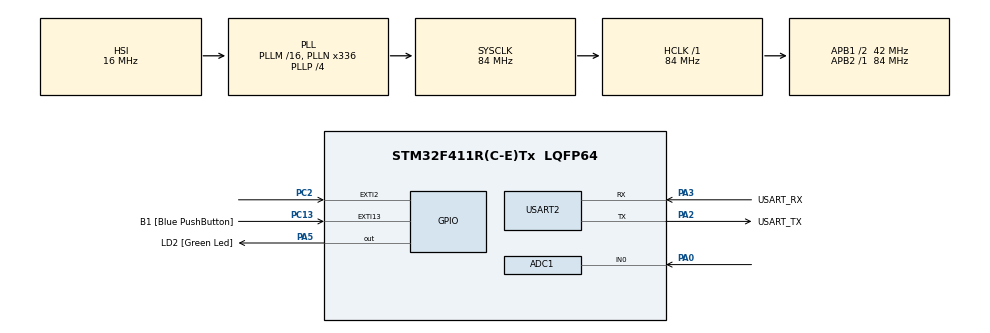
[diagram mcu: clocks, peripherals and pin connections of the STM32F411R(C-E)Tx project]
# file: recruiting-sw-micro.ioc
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ADC1.Channel-8\#ChannelRegularConversion=ADC_CHANNEL_0
ADC1.ContinuousConvMode=ENABLE
ADC1.DMAContinuousRequests=ENABLE
ADC1.NbrOfConversionFlag=1
ADC1.Rank-8\#ChannelRegularConversion=1
ADC1.SamplingTime-8\#ChannelRegularConversion=ADC_SAMPLETIME_3CYCLES
ADC1.master=1
Dma.ADC1.0.Direction=DMA_PERIPH_TO_MEMORY
Dma.ADC1.0.FIFOMode=DMA_FIFOMODE_DISABLE
Dma.ADC1.0.Instance=DMA2_Stream0
Dma.ADC1.0.MemDataAlignment=DMA_MDATAALIGN_HALFWORD
Dma.ADC1.0.MemInc=DMA_MINC_ENABLE
Dma.ADC1.0.Mode=DMA_CIRCULAR
Dma.ADC1.0.PeriphDataAlignment=DMA_PDATAALIGN_HALFWORD
Dma.ADC1.0.PeriphInc=DMA_PINC_DISABLE
Dma.ADC1.0.Priority=DMA_PRIORITY_LOW
Dma.Request0=ADC1
Mcu.Family=STM32F4
Mcu.Name=STM32F411R(C-E)Tx
Mcu.Package=LQFP64
NVIC.DMA2_Stream0_IRQn=true\:0\:0\:false\:false\:true\:false\:true\:true
NVIC.EXTI15_10_IRQn=true\:0\:0\:false\:false\:true\:true\:true\:true
NVIC.EXTI2_IRQn=true\:0\:0\:true\:false\:true\:true\:true\:true
NVIC.PriorityGroup=NVIC_PRIORITYGROUP_0
NVIC.TIM3_IRQn=true\:0\:0\:false\:false\:true\:true\:true\:true
NVIC.TIM4_IRQn=true\:0\:0\:false\:false\:true\:true\:true\:true
NVIC.USART2_IRQn=true\:0\:0\:false\:false\:true\:true\:true\:true
PA0-WKUP.Signal=ADCx_IN0
PA13.GPIO_Label=TMS
PA13.Mode=Serial_Wire
PA13.Signal=SYS_JTMS-SWDIO
PA14.GPIO_Label=TCK
PA14.Mode=Serial_Wire
PA14.Signal=SYS_JTCK-SWCLK
PA2.GPIO_Label=USART_TX
PA2.Mode=Asynchronous
PA2.Signal=USART2_TX
PA3.GPIO_Label=USART_RX
PA3.Mode=Asynchronous
PA3.Signal=USART2_RX
PA5.GPIO_Label=LD2 [Green Led]
PA5.Signal=GPIO_Output
PB3.GPIO_Label=SWO
PB3.Signal=SYS_JTDO-SWO
PC13-ANTI_TAMP.GPIO_Label=B1 [Blue PushButton]
PC13-ANTI_TAMP.GPIO_ModeDefaultEXTI=GPIO_MODE_IT_FALLING
PC13-ANTI_TAMP.Signal=GPXTI13
PC14-OSC32_IN.Mode=LSE-External-Oscillator
PC14-OSC32_IN.Signal=RCC_OSC32_IN
PC15-OSC32_OUT.Mode=LSE-External-Oscillator
PC15-OSC32_OUT.Signal=RCC_OSC32_OUT
PC2.GPIO_ModeDefaultEXTI=GPIO_MODE_IT_RISING_FALLING
PC2.Signal=GPXTI2
PH0\ -\ OSC_IN.Mode=HSE-External-Oscillator
PH0\ -\ OSC_IN.Signal=RCC_OSC_IN
PH1\ -\ OSC_OUT.Mode=HSE-External-Oscillator
PH1\ -\ OSC_OUT.Signal=RCC_OSC_OUT
ProjectManager.HeapSize=0x200
ProjectManager.StackSize=0x400
ProjectManager.TargetToolchain=Makefile
RCC.48MHZClocksFreq_Value=84000000
RCC.AHBFreq_Value=84000000
RCC.APB1CLKDivider=RCC_HCLK_DIV2
RCC.APB1Freq_Value=42000000
RCC.APB1TimFreq_Value=84000000
RCC.APB2Freq_Value=84000000
RCC.APB2TimFreq_Value=84000000
RCC.CortexFreq_Value=84000000
RCC.FLatency-AdvancedSettings=FLASH_LATENCY_2
RCC.HCLKFreq_Value=84000000
RCC.HSE_VALUE=8000000
RCC.HSI_VALUE=16000000
RCC.PLLN=336
RCC.PLLP=RCC_PLLP_DIV4
RCC.SYSCLKFreq_VALUE=84000000
RCC.SYSCLKSource=RCC_SYSCLKSOURCE_PLLCLK
RCC.VCOOutputFreq_Value=336000000
SH.ADCx_IN0.0=ADC1_IN0,IN0
TIM3.Period=7199
TIM3.Prescaler=9999
TIM4.Period=1679
TIM4.Prescaler=9999
USART2.VirtualMode=VM_ASYNC
VP_TIM3_VS_ClockSourceINT.Mode=Internal
VP_TIM4_VS_ClockSourceINT.Mode=Internal
board=NUCLEO-F411RE

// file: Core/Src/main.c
/* USER CODE BEGIN Header */
/**
  ******************************************************************************
  * @file           : main.c
  * @brief          : Main program body
  ******************************************************************************
  * @attention
  *
  * Copyright (c) 2024 STMicroelectronics.
  * All rights reserved.
  *
  * This software is licensed under terms that can be found in the LICENSE file
  * in the root directory of this software component.
  * If no LICENSE file comes with this software, it is provided AS-IS.
  *
  ******************************************************************************
  */
/* USER CODE END Header */
#include "main.h"

/* USER CODE BEGIN Includes */
#include "scheme.h"
#include <string.h>
#include <stdio.h>
#include <time.h> //for random values generation
#include <stdlib.h>
/* USER CODE END Includes */

/* USER CODE BEGIN PTD */
typedef enum {
    RAW,
    MOVING_AVERAGE,
    RANDOM_NOISE
} FilterMode;

/* USER CODE END PTD */

/* USER CODE BEGIN PD */
#define ADC_BUFFER_SIZE 300
#define MOVING_AVG_SIZE 150
#define BUFFER_SIZE 70
#define CLI_BUFFER_SIZE 15
#define RANDOM_RANGE 300
#define DEBOUNCE_TIME_MS 50
#define WARNING_TIMEOUT_MS 5000
/* USER CODE END PD */

ADC_HandleTypeDef hadc1;
DMA_HandleTypeDef hdma_adc1;

TIM_HandleTypeDef htim3;
TIM_HandleTypeDef htim4;

UART_HandleTypeDef huart2;

/* USER CODE BEGIN PV */
//digital and analog variables
uint16_t lastAnalogValue = 0;
uint16_t lastDigitalValue = 0;

uint16_t last_index = 0;//position of last written element on buffer
uint32_t adcBuffer[ADC_BUFFER_SIZE];//data structure for dma

//moving average variables
uint16_t adc_moving_average[MOVING_AVG_SIZE];
uint16_t buffer_index_moving_average = 0;
uint32_t sum = 0;

//millis for warning state
uint32_t lastTimer = 0;
uint32_t lastButtonPress = 0;//to avoid debouncing

//filter mode for data variables
FilterMode currentFilterMode = RAW;
char cli_command[CLI_BUFFER_SIZE];
uint8_t is_request_sended = 0;

//debug/info variables
char msg_buffer[BUFFER_SIZE];//buffer for serial msg

//state machine variables
// State human-readable names
const char *state_names[] = {"init", "wait_request", "error", "listening", "warning", "pause"};

// List of state functions
state_func_t *const state_table[NUM_STATES] = {
  do_init,         // in state init
  do_wait_request, // in state wait_request
  do_error,        // in state error
  do_listening,    // in state listening
  do_warning,      // in state warning
  do_pause,        // in state pause
};

HAL_StatusTypeDef halStatus = HAL_OK;
state_t current_state = STATE_INIT;
state_t next_state = STATE_WAIT_REQUEST;
state_t new_state = STATE_WAIT_REQUEST;
uint8_t is_running_error_timer = 0;

/* USER CODE END PV */

void SystemClock_Config(void);
static void MX_GPIO_Init(void);
static void MX_DMA_Init(void);
static void MX_USART2_UART_Init(void);
static void MX_ADC1_Init(void);
static void MX_TIM3_Init(void);
static void MX_TIM4_Init(void);

/* USER CODE BEGIN 0 */

/**
 * timers interrupt
 */
void HAL_TIM_PeriodElapsedCallback(TIM_HandleTypeDef* htim){
  if(htim->Instance == TIM3){
    //toggle pause state led
    HAL_GPIO_TogglePin(GPIOA, GPIO_PIN_5);
  } else if(htim->Instance == TIM4){
    //toggle error state led
    HAL_GPIO_TogglePin(GPIOA, GPIO_PIN_5);
  }
}

/**
 * Callback function for gpio digital input
 */
void HAL_GPIO_EXTI_Callback(uint16_t GPIO_Pin){
  if(GPIO_Pin == GPIO_PIN_2){
    //DIGITAL VALUE SENSOR
    lastDigitalValue = HAL_GPIO_ReadPin(GPIOC, GPIO_PIN_2);
  }
  else if(GPIO_Pin == GPIO_PIN_13){
    //USER BUTTON
    uint32_t currentTime = HAL_GetTick();

    //check for debouncing
    if ((currentTime - lastButtonPress) < DEBOUNCE_TIME_MS){
      return;//ignore interupt
    }
    lastButtonPress = currentTime;

    if(current_state == STATE_WAIT_REQUEST || current_state == STATE_PAUSE){
      //change state to listening
      current_state = next_state = new_state = STATE_LISTENING;
      HAL_GPIO_WritePin(GPIOA, GPIO_PIN_5, GPIO_PIN_SET);
      halStatus = HAL_UART_AbortReceive_IT(&huart2);//deactivate cli
      if(halStatus != HAL_OK){
        next_state = STATE_ERROR;
        return;
      }
      lastTimer = HAL_GetTick();

      //stop all timers
      halStatus = HAL_TIM_Base_Stop_IT(&htim3);
      if(halStatus != HAL_OK){
        next_state = STATE_ERROR;
        return;
      }

      halStatus = HAL_TIM_Base_Stop_IT(&htim4);
      if(halStatus != HAL_OK){
        next_state = STATE_ERROR;
        return;
      }
    }else if(current_state == STATE_LISTENING){
      //change state to pause
      current_state = next_state = new_state = STATE_PAUSE;
      //start timer
      HAL_TIM_Base_Start_IT(&htim3);
    }else if(current_state == STATE_WARNING){
      //change state to wait request
      current_state = next_state = STATE_WAIT_REQUEST;
      HAL_GPIO_WritePin(GPIOA, GPIO_PIN_5, GPIO_PIN_RESET);
      //stop all timers
      halStatus = HAL_TIM_Base_Stop_IT(&htim3);
      if(halStatus != HAL_OK){
        next_state = STATE_ERROR;
        return;
      }
      halStatus = HAL_TIM_Base_Stop_IT(&htim4);
      if(halStatus != HAL_OK){
        next_state = STATE_ERROR;
        return;
      }
    }else if(current_state == STATE_ERROR){
      //reset the board
      is_running_error_timer = 0;
      NVIC_SystemReset();
    }

    lastTimer = HAL_GetTick();//reset timer
  }
}

/**
Based on the user input, change the filter mode.
If the command is unknown, the current filter is not changed but
a false value is returned
*/
u_int8_t handle_cli_command(){
    if (strcmp(cli_command, "raw") == 0) {
        currentFilterMode = RAW;
    } else if (strcmp(cli_command, "moving average") == 0) {
        currentFilterMode = MOVING_AVERAGE;
    } else if (strcmp(cli_command, "random noise") == 0) {
        currentFilterMode = RANDOM_NOISE;
    } else {
        //comand not recognized
        memset(cli_command, '\0', sizeof(cli_command));
        return 1;
    }
    //clear buffer
    memset(cli_command, '\0', sizeof(cli_command));
    return 0;
}

/**
 * Callback function to handle the receiving of a command from the user
 */
void HAL_UARTEx_RxEventCallback(UART_HandleTypeDef *huart, uint16_t Size)
{
  //if we are not in pause or wait request state, ignore the command received
  //wait for next input
  if(current_state!= STATE_PAUSE && current_state != STATE_WAIT_REQUEST){
    memset(cli_command, '\0', sizeof(cli_command));
    return;
  }

  //check if command is unknown or not
  uint8_t unknownComand = handle_cli_command();

  if(unknownComand){
    sprintf(msg_buffer, "Command not valid. No change to filter mode.\r\n");
    HAL_UART_Transmit(&huart2, (uint8_t *)msg_buffer, strlen(msg_buffer), HAL_MAX_DELAY);
  }
  else{
    sprintf(msg_buffer, "Filter mode modified!\r\n");
    HAL_UART_Transmit(&huart2, (uint8_t *)msg_buffer, strlen(msg_buffer), HAL_MAX_DELAY);
  }

  //wait for next input
  halStatus = HAL_UARTEx_ReceiveToIdle_IT(&huart2, (uint8_t *)cli_command, BUFFER_SIZE);
  if(halStatus != HAL_OK){
    next_state = STATE_ERROR;
  }
}

/* USER CODE END 0 */

int main(void)
{

  /* MCU Configuration--------------------------------------------------------*/

  /* Infinite loop */
  while (1)
  {

    /* USER CODE BEGIN 3 */
    current_state = run_state(NULL);
  }
  /* USER CODE END 3 */
}

void SystemClock_Config(void)
{
  RCC_OscInitTypeDef RCC_OscInitStruct = {0};
  RCC_ClkInitTypeDef RCC_ClkInitStruct = {0};

  /** Configure the main internal regulator output voltage
  */
  __HAL_RCC_PWR_CLK_ENABLE();
  __HAL_PWR_VOLTAGESCALING_CONFIG(PWR_REGULATOR_VOLTAGE_SCALE1);

  /** Initializes the RCC Oscillators according to the specified parameters
  * in the RCC_OscInitTypeDef structure.
  */
  RCC_OscInitStruct.OscillatorType = RCC_OSCILLATORTYPE_HSI;
  RCC_OscInitStruct.HSIState = RCC_HSI_ON;
  RCC_OscInitStruct.HSICalibrationValue = RCC_HSICALIBRATION_DEFAULT;
  RCC_OscInitStruct.PLL.PLLState = RCC_PLL_ON;
  RCC_OscInitStruct.PLL.PLLSource = RCC_PLLSOURCE_HSI;
  RCC_OscInitStruct.PLL.PLLM = 16;
  RCC_OscInitStruct.PLL.PLLN = 336;
  RCC_OscInitStruct.PLL.PLLP = RCC_PLLP_DIV4;
  RCC_OscInitStruct.PLL.PLLQ = 4;
  if (HAL_RCC_OscConfig(&RCC_OscInitStruct) != HAL_OK)
  {
    Error_Handler();
  }

  /** Initializes the CPU, AHB and APB buses clocks
  */
  RCC_ClkInitStruct.ClockType = RCC_CLOCKTYPE_HCLK|RCC_CLOCKTYPE_SYSCLK
                              |RCC_CLOCKTYPE_PCLK1|RCC_CLOCKTYPE_PCLK2;
  RCC_ClkInitStruct.SYSCLKSource = RCC_SYSCLKSOURCE_PLLCLK;
  RCC_ClkInitStruct.AHBCLKDivider = RCC_SYSCLK_DIV1;
  RCC_ClkInitStruct.APB1CLKDivider = RCC_HCLK_DIV2;
  RCC_ClkInitStruct.APB2CLKDivider = RCC_HCLK_DIV1;

  if (HAL_RCC_ClockConfig(&RCC_ClkInitStruct, FLASH_LATENCY_2) != HAL_OK)
  {
    Error_Handler();
  }
}

static void MX_ADC1_Init(void)
{

  ADC_ChannelConfTypeDef sConfig = {0};

  /** Configure the global features of the ADC (Clock, Resolution, Data Alignment and number of conversion)
  */
  hadc1.Instance = ADC1;
  hadc1.Init.ClockPrescaler = ADC_CLOCK_SYNC_PCLK_DIV4;
  hadc1.Init.Resolution = ADC_RESOLUTION_12B;
  hadc1.Init.ScanConvMode = DISABLE;
  hadc1.Init.ContinuousConvMode = ENABLE;
  hadc1.Init.DiscontinuousConvMode = DISABLE;
  hadc1.Init.ExternalTrigConvEdge = ADC_EXTERNALTRIGCONVEDGE_NONE;
  hadc1.Init.ExternalTrigConv = ADC_SOFTWARE_START;
  hadc1.Init.DataAlign = ADC_DATAALIGN_RIGHT;
  hadc1.Init.NbrOfConversion = 1;
  hadc1.Init.DMAContinuousRequests = ENABLE;
  hadc1.Init.EOCSelection = ADC_EOC_SINGLE_CONV;
  if (HAL_ADC_Init(&hadc1) != HAL_OK)
  {
    Error_Handler();
  }

  /** Configure for the selected ADC regular channel its corresponding rank in the sequencer and its sample time.
  */
  sConfig.Channel = ADC_CHANNEL_0;
  sConfig.Rank = 1;
  sConfig.SamplingTime = ADC_SAMPLETIME_3CYCLES;
  if (HAL_ADC_ConfigChannel(&hadc1, &sConfig) != HAL_OK)
  {
    Error_Handler();
  }

}

static void MX_TIM3_Init(void)
{

  TIM_ClockConfigTypeDef sClockSourceConfig = {0};
  TIM_MasterConfigTypeDef sMasterConfig = {0};

  htim3.Instance = TIM3;
  htim3.Init.Prescaler = 9999;
  htim3.Init.CounterMode = TIM_COUNTERMODE_UP;
  htim3.Init.Period = 7199;
  htim3.Init.ClockDivision = TIM_CLOCKDIVISION_DIV1;
  htim3.Init.AutoReloadPreload = TIM_AUTORELOAD_PRELOAD_DISABLE;
  if (HAL_TIM_Base_Init(&htim3) != HAL_OK)
  {
    Error_Handler();
  }
  sClockSourceConfig.ClockSource = TIM_CLOCKSOURCE_INTERNAL;
  if (HAL_TIM_ConfigClockSource(&htim3, &sClockSourceConfig) != HAL_OK)
  {
    Error_Handler();
  }
  sMasterConfig.MasterOutputTrigger = TIM_TRGO_RESET;
  sMasterConfig.MasterSlaveMode = TIM_MASTERSLAVEMODE_DISABLE;
  if (HAL_TIMEx_MasterConfigSynchronization(&htim3, &sMasterConfig) != HAL_OK)
  {
    Error_Handler();
  }

}

static void MX_TIM4_Init(void)
{

  TIM_ClockConfigTypeDef sClockSourceConfig = {0};
  TIM_MasterConfigTypeDef sMasterConfig = {0};

  htim4.Instance = TIM4;
  htim4.Init.Prescaler = 9999;
  htim4.Init.CounterMode = TIM_COUNTERMODE_UP;
  htim4.Init.Period = 1679;
  htim4.Init.ClockDivision = TIM_CLOCKDIVISION_DIV1;
  htim4.Init.AutoReloadPreload = TIM_AUTORELOAD_PRELOAD_DISABLE;
  if (HAL_TIM_Base_Init(&htim4) != HAL_OK)
  {
    Error_Handler();
  }
  sClockSourceConfig.ClockSource = TIM_CLOCKSOURCE_INTERNAL;
  if (HAL_TIM_ConfigClockSource(&htim4, &sClockSourceConfig) != HAL_OK)
  {
    Error_Handler();
  }
  sMasterConfig.MasterOutputTrigger = TIM_TRGO_RESET;
  sMasterConfig.MasterSlaveMode = TIM_MASTERSLAVEMODE_DISABLE;
  if (HAL_TIMEx_MasterConfigSynchronization(&htim4, &sMasterConfig) != HAL_OK)
  {
    Error_Handler();
  }

}

static void MX_USART2_UART_Init(void)
{

  huart2.Instance = USART2;
  huart2.Init.BaudRate = 115200;
  huart2.Init.WordLength = UART_WORDLENGTH_8B;
  huart2.Init.StopBits = UART_STOPBITS_1;
  huart2.Init.Parity = UART_PARITY_NONE;
  huart2.Init.Mode = UART_MODE_TX_RX;
  huart2.Init.HwFlowCtl = UART_HWCONTROL_NONE;
  huart2.Init.OverSampling = UART_OVERSAMPLING_16;
  if (HAL_UART_Init(&huart2) != HAL_OK)
  {
    Error_Handler();
  }

}

static void MX_DMA_Init(void)
{

  /* DMA controller clock enable */
  __HAL_RCC_DMA2_CLK_ENABLE();

  /* DMA interrupt init */
  /* DMA2_Stream0_IRQn interrupt configuration */
  HAL_NVIC_SetPriority(DMA2_Stream0_IRQn, 0, 0);
  HAL_NVIC_EnableIRQ(DMA2_Stream0_IRQn);

}

static void MX_GPIO_Init(void)
{
  GPIO_InitTypeDef GPIO_InitStruct = {0};

  /* GPIO Ports Clock Enable */
  __HAL_RCC_GPIOC_CLK_ENABLE();
  __HAL_RCC_GPIOH_CLK_ENABLE();
  __HAL_RCC_GPIOA_CLK_ENABLE();
  __HAL_RCC_GPIOB_CLK_ENABLE();

  /*Configure GPIO pin Output Level */
  HAL_GPIO_WritePin(LD2_GPIO_Port, LD2_Pin, GPIO_PIN_RESET);

  /*Configure GPIO pin : B1_Pin */
  GPIO_InitStruct.Pin = B1_Pin;
  GPIO_InitStruct.Mode = GPIO_MODE_IT_FALLING;
  GPIO_InitStruct.Pull = GPIO_NOPULL;
  HAL_GPIO_Init(B1_GPIO_Port, &GPIO_InitStruct);

  /*Configure GPIO pin : PC2 */
  GPIO_InitStruct.Pin = GPIO_PIN_2;
  GPIO_InitStruct.Mode = GPIO_MODE_IT_RISING_FALLING;
  GPIO_InitStruct.Pull = GPIO_NOPULL;
  HAL_GPIO_Init(GPIOC, &GPIO_InitStruct);

  /*Configure GPIO pin : LD2_Pin */
  GPIO_InitStruct.Pin = LD2_Pin;
  GPIO_InitStruct.Mode = GPIO_MODE_OUTPUT_PP;
  GPIO_InitStruct.Pull = GPIO_NOPULL;
  GPIO_InitStruct.Speed = GPIO_SPEED_FREQ_LOW;
  HAL_GPIO_Init(LD2_GPIO_Port, &GPIO_InitStruct);

  /* EXTI interrupt init*/
  HAL_NVIC_SetPriority(EXTI2_IRQn, 0, 0);
  HAL_NVIC_EnableIRQ(EXTI2_IRQn);

  HAL_NVIC_SetPriority(EXTI15_10_IRQn, 0, 0);
  HAL_NVIC_EnableIRQ(EXTI15_10_IRQn);

}

/* USER CODE BEGIN 4 */

// No transition functions

/*  ____  _        _
 * / ___|| |_ __ _| |_ ___
 * \___ \| __/ _` | __/ _ \
 *  ___) | || (_| | ||  __/
 * |____/ \__\__,_|\__\___|
 *
 *   __                  _   _
 *  / _|_   _ _ __   ___| |_(_) ___  _ __  ___
 * | |_| | | | '_ \ / __| __| |/ _ \| '_ \/ __|
 * |  _| |_| | | | | (__| |_| | (_) | | | \__ \
 * |_|  \__,_|_| |_|\___|\__|_|\___/|_| |_|___/
 */

// Function to be executed in state init
// valid return states: STATE_WAIT_REQUEST, STATE_ERROR
state_t do_init(state_data_t *data) {
  next_state = STATE_WAIT_REQUEST;
  is_request_sended = 0;

  srand(time(NULL));//set seed for random number generator
  /* Reset of all peripherals, Initializes the Flash interface and the Systick. */
  halStatus = HAL_Init();

  if(halStatus != HAL_OK){
    next_state  = STATE_ERROR;
    return next_state;
  }

  /* Configure the system clock */
  SystemClock_Config();

  /* Initialize all configured peripherals */
  MX_GPIO_Init();
  MX_DMA_Init();
  MX_USART2_UART_Init();
  MX_ADC1_Init();
  MX_TIM3_Init();
  MX_TIM4_Init();

  // Initialize the DMA conversion
  halStatus = HAL_ADC_Start_DMA(&hadc1, adcBuffer, ADC_BUFFER_SIZE);
  if(halStatus != HAL_OK){
    next_state  = STATE_ERROR;
    return next_state;
  }

  lastTimer = HAL_GetTick();//start time of MCU

  next_state = STATE_WAIT_REQUEST;
  return next_state;
}

// Function to be executed in state wait_request
// valid return states: STATE_ERROR, STATE_LISTENING
state_t do_wait_request(state_data_t *data) {
  if(!is_request_sended){
    sprintf(msg_buffer, "C:\r\n");//send command request to user
    halStatus = HAL_UART_Transmit(&huart2, (uint8_t *)msg_buffer, strlen(msg_buffer), HAL_MAX_DELAY);
    if(halStatus != HAL_OK){
      next_state  = STATE_ERROR;
      return next_state;
    }
    is_request_sended = 1;

    //wait for possible input from user
    halStatus = HAL_UARTEx_ReceiveToIdle_IT(&huart2, (u_int8_t *)cli_command, BUFFER_SIZE);
    if(halStatus != HAL_OK){
      next_state = STATE_ERROR;
      return next_state;
    }
  }

  return next_state;
}

// Function to be executed in state error
// valid return states: NO_CHANGE
state_t do_error(state_data_t *data) {
  if(!is_running_error_timer){
    HAL_TIM_Base_Start_IT(&htim4);
    is_running_error_timer = 1;
  }

  if(is_request_sended){
    //deactivate cli
    halStatus = HAL_UART_AbortReceive_IT(&huart2);
    if(halStatus != HAL_OK){
      next_state = STATE_ERROR;
      return next_state;
    }
  }

  //retrieve last errors raised
  //CFSR (Configurable Fault Status Register)
  uint32_t cfsr = SCB->CFSR;
  //HFSR (HardFault Status Register)
  uint32_t hfsr = SCB->HFSR;
  sprintf(msg_buffer, "ERROR CFSR: %lu\tHFSR: %lu\r\n", cfsr, hfsr);
  halStatus = HAL_UART_Transmit(&huart2, (uint8_t *)msg_buffer, strlen(msg_buffer), HAL_MAX_DELAY);

  return next_state;
}

// Function to be executed in state listening
// valid return states: STATE_ERROR, STATE_WARNING, STATE_PAUSE
state_t do_listening(state_data_t *data) {
  is_request_sended = 0;

  //read latest analog value wrote on buffer
  last_index = (BUFFER_SIZE - __HAL_DMA_GET_COUNTER(&hdma_adc1)) % BUFFER_SIZE;
  lastAnalogValue = adcBuffer[last_index];

  //update moving average even if not in MOVING_AVERAGE mode
  //in order to have the data ready when requested (change of filter mode)
  sum -= adc_moving_average[buffer_index_moving_average];
  adc_moving_average[buffer_index_moving_average] = lastAnalogValue;
  sum += lastAnalogValue;
  buffer_index_moving_average = (buffer_index_moving_average + 1) % MOVING_AVG_SIZE;

  //print analog data
  switch (currentFilterMode)
  {
  case RAW:
    sprintf(msg_buffer, "A:%hu\r\n", (u_int16_t)lastAnalogValue);
    break;

  case MOVING_AVERAGE:
    float moving_avg = (float)sum / MOVING_AVG_SIZE;
    sprintf(msg_buffer, "A: %.3f\r\n", moving_avg);
    break;

  case RANDOM_NOISE:
    sprintf(msg_buffer, "A: %hu\r\n", (u_int16_t)(adcBuffer[0] + rand() % RANDOM_RANGE));
    break;

  default:
    break;
  }

  halStatus = HAL_UART_Transmit(&huart2, (uint8_t *)msg_buffer, strlen(msg_buffer), HAL_MAX_DELAY);
  if(halStatus != HAL_OK){
    next_state  = STATE_ERROR;
    return next_state;
  }

  //print digital data
  sprintf(msg_buffer, "D: %hu\r\n", lastDigitalValue);
  halStatus = HAL_UART_Transmit(&huart2, (uint8_t *)msg_buffer, strlen(msg_buffer), HAL_MAX_DELAY);
  if(halStatus != HAL_OK){
    next_state  = STATE_ERROR;
    return next_state;
  }

  if(lastDigitalValue){
    //check if digital is high for 5 seconds
    if(HAL_GetTick() - lastTimer >= WARNING_TIMEOUT_MS){
      //warning state
      next_state = STATE_WARNING;
      //deactivate cli
      halStatus = HAL_UART_AbortReceive_IT(&huart2);
      if(halStatus != HAL_OK){
        next_state = STATE_ERROR;
        return next_state;
      }
    }
  }else{
    //reset timer
    lastTimer = HAL_GetTick();
  }

  return next_state;
}

// Function to be executed in state warning
// valid return states: STATE_WAIT_REQUEST, STATE_ERROR
state_t do_warning(state_data_t *data) {
  is_request_sended = 0;

  HAL_GPIO_WritePin(GPIOA, GPIO_PIN_5, GPIO_PIN_RESET);
  sprintf(msg_buffer, "WARNING\r\n");
  halStatus = HAL_UART_Transmit(&huart2, (uint8_t *)msg_buffer, strlen(msg_buffer), HAL_MAX_DELAY);
  if(halStatus != HAL_OK){
    next_state = STATE_ERROR;
    return next_state;
  }

  return next_state;
}

// Function to be executed in state pause
// valid return states: STATE_ERROR, STATE_LISTENING
state_t do_pause(state_data_t *data) {
  if(!is_request_sended){
    sprintf(msg_buffer, "C:\r\n");//send command request to user
    halStatus = HAL_UART_Transmit(&huart2, (uint8_t *)msg_buffer, strlen(msg_buffer), HAL_MAX_DELAY);
    if(halStatus != HAL_OK){
      next_state  = STATE_ERROR;
      return next_state;
    }
    is_request_sended = 1;

    //wait for possible user input
    halStatus = HAL_UARTEx_ReceiveToIdle_IT(&huart2, (u_int8_t *)cli_command, BUFFER_SIZE);
    if(halStatus != HAL_OK){
      next_state = STATE_ERROR;
      return next_state;
    }
  }

  return next_state;
}

/*  ____  _        _
 * / ___|| |_ __ _| |_ ___
 * \___ \| __/ _` | __/ _ \
 *  ___) | || (_| | ||  __/
 * |____/ \__\__,_|\__\___|
 *
 *
 *  _ __ ___   __ _ _ __   __ _  __ _  ___ _ __
 * | '_ ` _ \ / _` | '_ \ / _` |/ _` |/ _ \ '__|
 * | | | | | | (_| | | | | (_| | (_| |  __/ |
 * |_| |_| |_|\__,_|_| |_|\__,_|\__, |\___|_|
 *                              |___/
 */

state_t run_state(state_data_t *data) {
  new_state = state_table[current_state](data);
  if (new_state == NO_CHANGE) new_state = current_state;
  //force state in case of inconsistency due to interrupt
  if(current_state == next_state) new_state = current_state;
  return new_state;
};

/* USER CODE END 4 */

void Error_Handler(void)
{
  /* USER CODE BEGIN Error_Handler_Debug */
  /* User can add his own implementation to report the HAL error return state */
  /*
  in case of a generic error, set the next state as ERROR
  */
  next_state = STATE_ERROR;
  HAL_TIM_Base_Start_IT(&htim4);
  HAL_UART_AbortReceive_IT(&huart2);
  /* USER CODE END Error_Handler_Debug */
}
